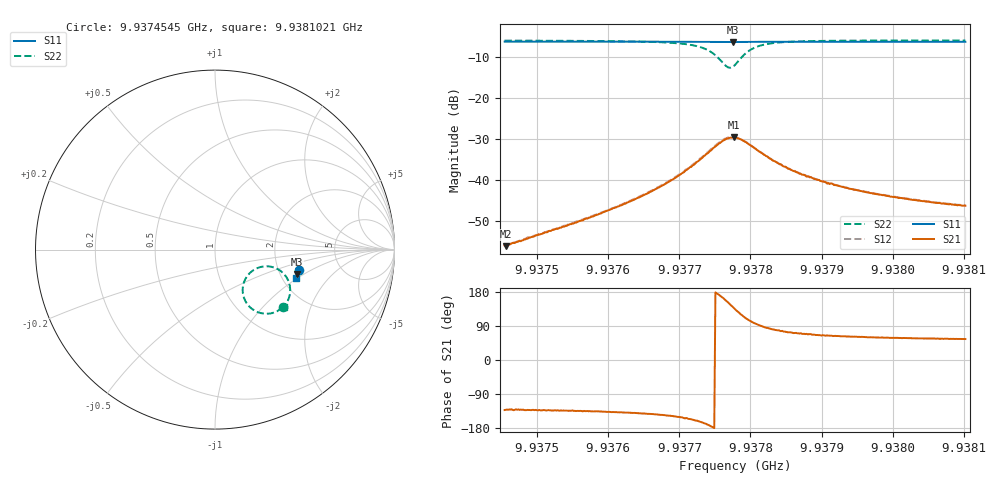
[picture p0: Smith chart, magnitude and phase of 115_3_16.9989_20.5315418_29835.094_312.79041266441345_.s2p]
#  HZ  S  RI  R  50.00
! Rohde & Schwarz Vector Network Analyzer
! Rohde-Schwarz,ZNB20-2Port,1311601062101988,3.16
! Created: UTC 3/20/2024, 10:57:13 PM
! freq[Hz]  re:S11  im:S11  re:S21  im:S21  re:S12  im:S12  re:S22  im:S22
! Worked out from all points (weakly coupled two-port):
!   401 points, 9.9374545 GHz to 9.9381021 GHz, reference 50 ohm
!   highest |S21| = -29.62 dB at 9.9377767 GHz (marker M1); lowest = -56.0 dB at 9.9374561 GHz (marker M2)
!   lowest |S11| = -6.4 dB at 9.9377751 GHz (marker M3), VSWR 2.83, Z = 124 - j43.3 ohm
!   |S11| at or under -10 dB: nowhere
!   |S22| runs from -12.7 to -6.0 dB; largest |S21 - S12| = 0.0017
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9.93745451e9  0.4685 -0.1162  -0.00107 -0.00119  -0.00107 -0.00121  0.3779 -0.3222
9.93745613e9  0.4685 -0.1163  -0.00105 -0.00118  -0.00109 -0.00126  0.3776 -0.3224
9.93756298e9  0.4659 -0.1238  -0.00229 -0.0023  -0.00235 -0.00232  0.3614 -0.3347
9.93761803e9  0.4647 -0.1275  -0.00365 -0.00331  -0.0038 -0.0033  0.3463 -0.3433
9.93767145e9  0.4631 -0.1313  -0.00664 -0.00476  -0.00684 -0.00474  0.3178 -0.3539
9.93770869e9  0.4618 -0.1339  -0.0117 -0.00578  -0.0121 -0.00577  0.2748 -0.3569
9.93772488e9  0.4611 -0.135  -0.0157 -0.00572  -0.0162 -0.00525  0.2414 -0.3498
9.93773783e9  0.46 -0.1358  -0.0204 -0.00415  -0.0209 -0.00347  0.2058 -0.33
9.93774916e9  0.4592 -0.1361  -0.025 -9.34e-05  -0.0256 0.000664  0.1719 -0.2915
9.9377605e9  0.4583 -0.1361  -0.0288 0.00781  -0.0294 0.00897  0.1543 -0.2226
9.93776859e9  0.458 -0.1357  -0.0283 0.0152  -0.0285 0.0168  0.1703 -0.162
9.93777507e9  0.458 -0.1352  -0.0254 0.021  -0.0247 0.0226  0.2052 -0.1211
9.93777669e9  0.4582 -0.1353  -0.0243 0.0224  -0.0235 0.0238  0.2162 -0.1132
9.9377783e9  0.4581 -0.1353  -0.0231 0.0236  -0.0222 0.0248  0.2276 -0.1068
9.9377864e9  0.4587 -0.1352  -0.0158 0.0271  -0.015 0.0278  0.2883 -0.0928
9.93779611e9  0.4594 -0.1357  -0.00832 0.0267  -0.00732 0.0271  0.3478 -0.1079
9.93781392e9  0.46 -0.1372  -0.000281 0.0218  0.000608 0.022  0.4015 -0.1598
9.93785116e9  0.4597 -0.1405  0.004 0.0136  0.00414 0.0135  0.4191 -0.2319
9.93788678e9  0.4591 -0.1433  0.00417 0.00977  0.00439 0.00979  0.4135 -0.2638
9.93794182e9  0.4578 -0.1473  0.00369 0.00687  0.00383 0.00687  0.4038 -0.2884
9.93799525e9  0.4563 -0.1508  0.00333 0.00542  0.00347 0.00545  0.3959 -0.3017
9.9381021e9  0.4536 -0.1578  0.00278 0.00402  0.0029 0.00402  0.3844 -0.3173
